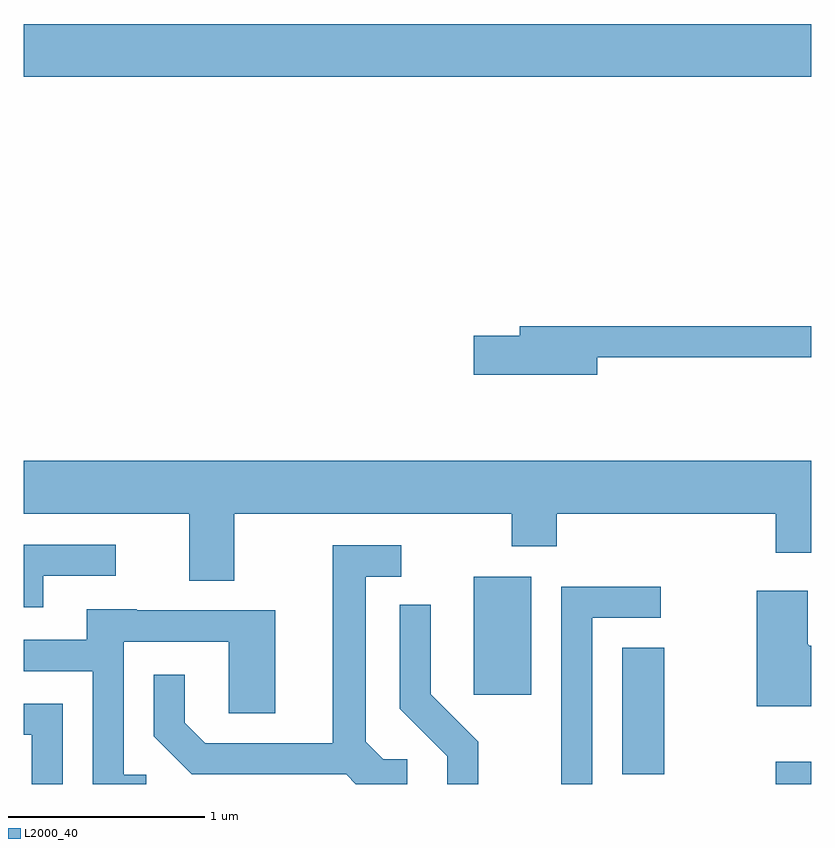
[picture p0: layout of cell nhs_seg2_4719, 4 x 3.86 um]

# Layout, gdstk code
import gdstk
lib = gdstk.Library(unit=1e-6, precision=1e-09)
def R(c, l, rs):  # rectangles x0, y0, x1, y1
    for r in rs: c.add(gdstk.rectangle(r[:2], r[2:], *l))
def P(c, l, *ps):  # polygons
    for p in ps: c.add(gdstk.Polygon(p, *l))
L2000_40 = (2000, 40)

nhs_seg2_4719 = lib.new_cell('nhs_seg2_4719')
R(nhs_seg2_4719, L2000_40, [(327.431,1075.802,327.611,1075.914), (326.651,1075.851,326.864,1076.494), (325.896,1076.256,326.189,1076.854), (323.611,1079.396,327.611,1079.664)])
P(nhs_seg2_4719, L2000_40, [(326.524,1077.971),(327.611,1077.971),(327.611,1078.129),(326.131,1078.129),(326.131,1078.079),(325.896,1078.079),(325.896,1077.881),(326.524,1077.881)],
  [(324.679,1077.176),(326.091,1077.176),(326.091,1077.011),(326.319,1077.011),(326.319,1077.176),(327.431,1077.176),(327.431,1076.976),(327.611,1076.976),(327.611,1077.444),(323.611,1077.444),(323.611,1077.176),(324.451,1077.176),(324.451,1076.836),(324.679,1076.836)],
  [(323.709,1076.861),(324.078,1076.861),(324.078,1077.019),(323.611,1077.019),(323.611,1076.701),(323.709,1076.701)],
  [(325.558,1075.929),(325.437,1075.929),(325.349,1076.017),(325.349,1076.856),(325.528,1076.856),(325.528,1077.014),(325.181,1077.014),(325.181,1076.009),(324.532,1076.009),(324.429,1076.112),(324.429,1076.358),(324.271,1076.358),(324.271,1076.044),(324.464,1075.851),(325.249,1075.851),(325.298,1075.802),(325.558,1075.802)],
  [(326.499,1076.646),(326.848,1076.646),(326.848,1076.804),(326.341,1076.804),(326.341,1075.802),(326.499,1075.802)],
  [(327.611,1076.504),(327.6,1076.504),(327.6,1076.51),(327.594,1076.51),(327.594,1076.784),(327.336,1076.784),(327.336,1076.196),(327.611,1076.196)],
  [(325.919,1076.017),(325.679,1076.257),(325.679,1076.713),(325.521,1076.713),(325.521,1076.184),(325.761,1075.944),(325.761,1075.802),(325.919,1075.802)],
  [(324.233,1075.849),(324.119,1075.849),(324.119,1076.526),(324.651,1076.526),(324.651,1076.161),(324.889,1076.161),(324.889,1076.684),(324.185,1076.684),(324.185,1076.689),(323.931,1076.689),(323.931,1076.534),(323.611,1076.534),(323.611,1076.376),(323.961,1076.376),(323.961,1075.802),(324.233,1075.802)],
  [(323.809,1076.209),(323.611,1076.209),(323.611,1076.051),(323.651,1076.051),(323.651,1075.802),(323.809,1075.802)])

lib.write_gds('nhs_seg2_4719.gds')
